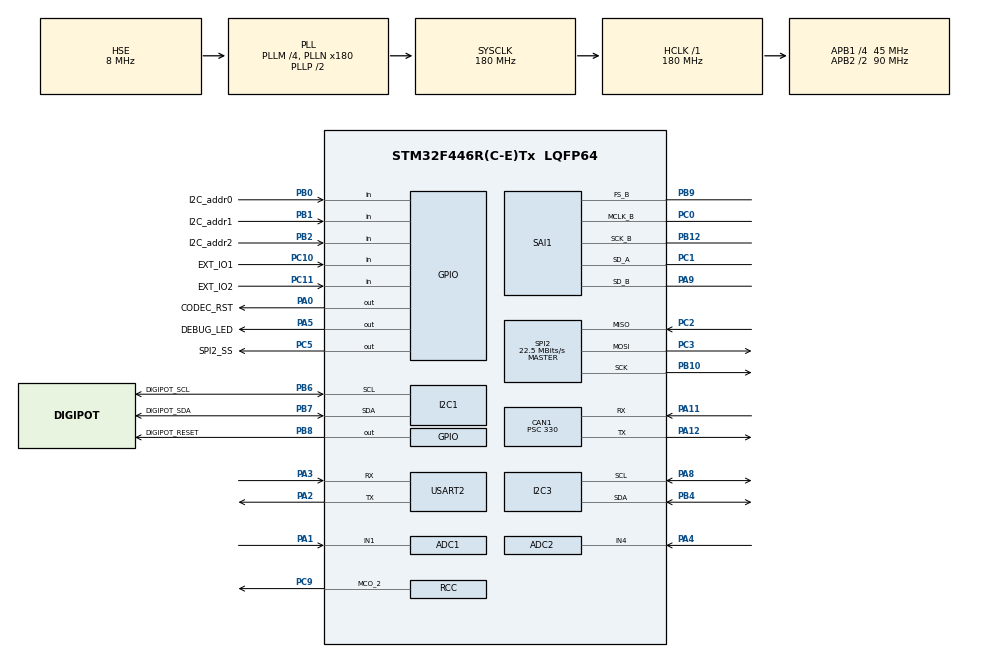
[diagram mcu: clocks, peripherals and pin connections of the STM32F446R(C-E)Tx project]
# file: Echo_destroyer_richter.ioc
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ADC1.Channel-0\#ChannelRegularConversion=ADC_CHANNEL_1
ADC1.ClockPrescaler=ADC_CLOCK_SYNC_PCLK_DIV6
ADC1.NbrOfConversionFlag=1
ADC1.Rank-0\#ChannelRegularConversion=1
ADC1.SamplingTime-0\#ChannelRegularConversion=ADC_SAMPLETIME_3CYCLES
ADC1.master=1
ADC2.Channel-0\#ChannelRegularConversion=ADC_CHANNEL_4
ADC2.ClockPrescaler=ADC_CLOCK_SYNC_PCLK_DIV6
ADC2.NbrOfConversionFlag=1
ADC2.Rank-0\#ChannelRegularConversion=1
ADC2.SamplingTime-0\#ChannelRegularConversion=ADC_SAMPLETIME_3CYCLES
CAN1.BS1=CAN_BS1_7TQ
CAN1.BS2=CAN_BS2_6TQ
CAN1.CalculateBaudRate=9740
CAN1.CalculateTimeBit=102666
CAN1.CalculateTimeQuantum=7333.333333333333
CAN1.Prescaler=330
Dma.Request0=SAI1_A
Dma.Request1=SAI1_B
Dma.SAI1_A.0.Direction=DMA_PERIPH_TO_MEMORY
Dma.SAI1_A.0.FIFOMode=DMA_FIFOMODE_DISABLE
Dma.SAI1_A.0.Instance=DMA2_Stream1
Dma.SAI1_A.0.MemDataAlignment=DMA_MDATAALIGN_WORD
Dma.SAI1_A.0.MemInc=DMA_MINC_ENABLE
Dma.SAI1_A.0.Mode=DMA_CIRCULAR
Dma.SAI1_A.0.PeriphDataAlignment=DMA_PDATAALIGN_WORD
Dma.SAI1_A.0.PeriphInc=DMA_PINC_DISABLE
Dma.SAI1_A.0.Priority=DMA_PRIORITY_LOW
Dma.SAI1_B.1.Direction=DMA_MEMORY_TO_PERIPH
Dma.SAI1_B.1.FIFOMode=DMA_FIFOMODE_DISABLE
Dma.SAI1_B.1.Instance=DMA2_Stream4
Dma.SAI1_B.1.MemDataAlignment=DMA_MDATAALIGN_WORD
Dma.SAI1_B.1.MemInc=DMA_MINC_ENABLE
Dma.SAI1_B.1.Mode=DMA_CIRCULAR
Dma.SAI1_B.1.PeriphDataAlignment=DMA_PDATAALIGN_WORD
Dma.SAI1_B.1.PeriphInc=DMA_PINC_DISABLE
Dma.SAI1_B.1.Priority=DMA_PRIORITY_LOW
I2C3.I2C_Mode=I2C_Fast
I2C3.OwnAddress=0x55
IWDG.Prescaler=IWDG_PRESCALER_16
IWDG.Reload=1500
Mcu.Family=STM32F4
Mcu.Name=STM32F446R(C-E)Tx
Mcu.Package=LQFP64
NVIC.DMA2_Stream1_IRQn=true\:0\:0\:false\:false\:true\:false\:true\:true
NVIC.DMA2_Stream4_IRQn=true\:0\:0\:false\:false\:true\:false\:true\:true
NVIC.I2C3_ER_IRQn=true\:0\:0\:false\:false\:true\:true\:true\:true
NVIC.I2C3_EV_IRQn=true\:0\:0\:false\:false\:true\:true\:true\:true
NVIC.PriorityGroup=NVIC_PRIORITYGROUP_4
NVIC.TIM8_TRG_COM_TIM14_IRQn=true\:0\:0\:false\:false\:true\:true\:true\:true
PA0-WKUP.GPIO_Label=CODEC_RST
PA0-WKUP.Signal=GPIO_Output
PA1.Signal=ADCx_IN1
PA11.Mode=CAN_Activate
PA11.Signal=CAN1_RX
PA12.Mode=CAN_Activate
PA12.Signal=CAN1_TX
PA13.Mode=Serial_Wire
PA13.Signal=SYS_JTMS-SWDIO
PA14.Mode=Serial_Wire
PA14.Signal=SYS_JTCK-SWCLK
PA2.Mode=Asynchronous
PA2.Signal=USART2_TX
PA3.Mode=Asynchronous
PA3.Signal=USART2_RX
PA4.Signal=ADCx_IN4
PA5.GPIO_Label=DEBUG_LED
PA5.Signal=GPIO_Output
PA8.Mode=I2C
PA8.Signal=I2C3_SCL
PA9.Mode=SAI_B_MasterWithClock
PA9.Signal=SAI1_SD_B
PB0.GPIO_Label=I2C_addr0
PB0.GPIO_PuPd=GPIO_PULLUP
PB0.Signal=GPIO_Input
PB1.GPIO_Label=I2C_addr1
PB1.GPIO_PuPd=GPIO_PULLUP
PB1.Signal=GPIO_Input
PB10.Mode=Full_Duplex_Master
PB10.Signal=SPI2_SCK
PB12.Mode=SAI_B_MasterWithClock
PB12.Signal=SAI1_SCK_B
PB2.GPIO_Label=I2C_addr2
PB2.GPIO_PuPd=GPIO_PULLUP
PB2.Signal=GPIO_Input
PB4.Mode=I2C
PB4.Signal=I2C3_SDA
PB6.GPIO_Label=DIGIPOT_SCL
PB6.Mode=I2C
PB6.Signal=I2C1_SCL
PB7.GPIO_Label=DIGIPOT_SDA
PB7.Mode=I2C
PB7.Signal=I2C1_SDA
PB8.GPIO_Label=DIGIPOT_RESET
PB8.Signal=GPIO_Output
PB9.Mode=SAI_B_MasterWithClock
PB9.Signal=SAI1_FS_B
PC0.Mode=SAI_B_MasterWithClock
PC0.Signal=SAI1_MCLK_B
PC1.Mode=SAI_A_SyncSlave
PC1.Signal=SAI1_SD_A
PC10.GPIO_Label=EXT_IO1
PC10.Signal=GPIO_Input
PC11.GPIO_Label=EXT_IO2
PC11.Signal=GPIO_Input
PC2.Mode=Full_Duplex_Master
PC2.Signal=SPI2_MISO
PC3.Mode=Full_Duplex_Master
PC3.Signal=SPI2_MOSI
PC5.GPIO_Label=SPI2_SS
PC5.Signal=GPIO_Output
PC9.Mode=Clock-out-2
PC9.Signal=RCC_MCO_2
PH0-OSC_IN.Mode=HSE-External-Oscillator
PH0-OSC_IN.Signal=RCC_OSC_IN
PH1-OSC_OUT.Mode=HSE-External-Oscillator
PH1-OSC_OUT.Signal=RCC_OSC_OUT
ProjectManager.HeapSize=0x200
ProjectManager.StackSize=0x400
ProjectManager.TargetToolchain=STM32CubeIDE
RCC.AHBFreq_Value=180000000
RCC.APB1CLKDivider=RCC_HCLK_DIV4
RCC.APB1Freq_Value=45000000
RCC.APB1TimFreq_Value=90000000
RCC.APB2CLKDivider=RCC_HCLK_DIV2
RCC.APB2Freq_Value=90000000
RCC.APB2TimFreq_Value=180000000
RCC.CortexFreq_Value=180000000
RCC.HCLKFreq_Value=180000000
RCC.HSE_Timout=5000
RCC.HSE_VALUE=8000000
RCC.HSICalibrationValue=8
RCC.PLLI2SM=4
RCC.PLLI2SN=50
RCC.PLLM=4
RCC.PLLN=180
RCC.PLLSAIM=4
RCC.PLLSAIN=98
RCC.PLLSourceVirtual=RCC_PLLSOURCE_HSE
RCC.RCC_MCO2Source=RCC_MCO2SOURCE_HSE
RCC.SYSCLKFreq_VALUE=180000000
RCC.SYSCLKSource=RCC_SYSCLKSOURCE_PLLCLK
RCC.USBFreq_Value=180000000
RCC.VCOOutputFreq_Value=360000000
SAI1.AudioFrequency-SAI_B_MasterWithClock=SAI_AUDIO_FREQUENCY_16K
SAI1.ErrorAudioFreq-SAI_B_MasterWithClock=-0.31 %
SAI1.InitProtocol-SAI_A_SyncSlave=Enable
SAI1.InitProtocol-SAI_B_MasterWithClock=Enable
SAI1.Instance-SAI_A_SyncSlave=SAI$Index_Block_A
SAI1.Instance-SAI_B_MasterWithClock=SAI$Index_Block_B
SAI1.MClockEnable-SAI_B_MasterWithClock=SAI_MASTERCLOCK_ENABLE
SAI1.OutputDrive-SAI_B_MasterWithClock=SAI_OUTPUTDRIVE_ENABLE
SAI1.RealAudioFreq-SAI_B_MasterWithClock=15.95 KHz
SAI1.VirtualMode-SAI_A_SyncSlave=VM_SLAVE
SAI1.VirtualMode-SAI_B_MasterWithClock=VM_MASTER
SAI1.VirtualProtocol-SAI_A_BASIC=VM_BASIC_PROTOCOL
SAI1.VirtualProtocol-SAI_B_BASIC=VM_BASIC_PROTOCOL
SH.ADCx_IN1.0=ADC1_IN1,IN1
SH.ADCx_IN4.0=ADC2_IN4,IN4
SPI2.BaudRatePrescaler=SPI_BAUDRATEPRESCALER_2
SPI2.CalculateBaudRate=22.5 MBits/s
SPI2.Direction=SPI_DIRECTION_2LINES
SPI2.Mode=SPI_MODE_MASTER
SPI2.VirtualType=VM_MASTER
STMicroelectronics.X-CUBE-ALGOBUILD.1.3.0.LibraryCcDSPOoLibraryJjDSPOoLibrary=true
TIM14.AutoReloadPreload=TIM_AUTORELOAD_PRELOAD_ENABLE
TIM14.Period=10000
TIM14.Prescaler=900
USART2.VirtualMode=VM_ASYNC
VP_IWDG_VS_IWDG.Mode=IWDG_Activate
VP_SAI1_VP_$IpInstance_SAIA_SAI_BASIC.Mode=SAI_A_BASIC
VP_SAI1_VP_$IpInstance_SAIB_SAI_BASIC.Mode=SAI_B_BASIC
VP_STMicroelectronics.X-CUBE-ALGOBUILD_VS_DSPOoLibraryJjLibrary_1.3.0_1.3.0.Mode=DSPOoLibraryJjLibrary
VP_TIM14_VS_ClockSourceINT.Mode=Enable_Timer
board=custom

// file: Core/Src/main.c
/* USER CODE BEGIN Header */
/**
  ******************************************************************************
  * @file           : main.c
  * @brief          : Main program body
  ******************************************************************************
  * @attention
  *
  * Copyright (c) 2024 STMicroelectronics.
  * All rights reserved.
  *
  * This software is licensed under terms that can be found in the LICENSE file
  * in the root directory of this software component.
  * If no LICENSE file comes with this software, it is provided AS-IS.
  *
  ******************************************************************************
  */
/* USER CODE END Header */
#include "main.h"

/* USER CODE BEGIN Includes */
#include "acoustic_ec.h"
#include <stdbool.h>
#include <stdint.h>
#include <stdlib.h>
#include "nvs.h"
#include "digitpoti.h"
#include "math.h"
#include "debug_led.h"
/* USER CODE END Includes */

/* USER CODE BEGIN PTD */
/*Handler and Config structures for AEC*/
AcousticEC_Handler_t   EchoHandlerInstance;
AcousticEC_Config_t    EchoConfigInstance;
/* USER CODE END PTD */

/* USER CODE BEGIN PD */
#define PI 3.14159265
#define SAMPLE_RATE 32000
#define FREQUENCY 440
#define AMPLITUDE 32767
#define BUFFER_SIZE 32
int16_t buffer[BUFFER_SIZE];
int16_t buffer2[BUFFER_SIZE];
uint8_t whichBuffer = 0;
HAL_StatusTypeDef ret;

/* USER CODE END PD */

ADC_HandleTypeDef hadc1;
ADC_HandleTypeDef hadc2;

CAN_HandleTypeDef hcan1;

I2C_HandleTypeDef hi2c1;
I2C_HandleTypeDef hi2c3;

IWDG_HandleTypeDef hiwdg;

SAI_HandleTypeDef hsai_BlockA1;
SAI_HandleTypeDef hsai_BlockB1;
DMA_HandleTypeDef hdma_sai1_a;
DMA_HandleTypeDef hdma_sai1_b;

SPI_HandleTypeDef hspi2;

TIM_HandleTypeDef htim14;

UART_HandleTypeDef huart2;

/* USER CODE BEGIN PV */
uint32_t inbuff[64];
uint32_t outbuff[64];
int16_t  inAbuff1[16];
int16_t  inBbuff1[16];
int16_t  inAbuff2[16];
int16_t  inBbuff2[16];
int16_t  echoOut1[16];
int16_t  echoOut2[16];

volatile int16_t Micbuff[32];
volatile int16_t Refbuff[32];
volatile int16_t Outbuff[32];
volatile int16_t MicMaxVals[10];
volatile uint8_t MicMaxValsPtr = 0;
volatile int16_t MicMaxVal = 0;

volatile int16_t RefMaxVals[10];
volatile uint8_t RefMaxValsPtr = 0;
volatile int16_t RefMaxVal = 0;

volatile int16_t OutMaxVals[10];
volatile uint8_t OutMaxValsPtr = 0;
volatile int16_t OutMaxVal = 0;

volatile bool shouldProcess = false;

DigitPot digitpoti;
uint16_t ledBlinkTimer = 0;
uint8_t savepotiflag = 0;
double phase = 0.0;
/* USER CODE END PV */

void SystemClock_Config(void);
void PeriphCommonClock_Config(void);
static void MX_GPIO_Init(void);
static void MX_DMA_Init(void);
static void MX_ADC1_Init(void);
static void MX_ADC2_Init(void);
static void MX_CAN1_Init(void);
static void MX_I2C1_Init(void);
static void MX_I2C3_Init(void);
static void MX_SPI2_Init(void);
static void MX_USART2_UART_Init(void);
static void MX_SAI1_Init(void);
static void MX_TIM14_Init(void);
static void MX_IWDG_Init(void);

/* USER CODE BEGIN 0 */
void generate_sine_wave() {
    for (int i = 0; i < BUFFER_SIZE; i++) {
        double t = (double)i / BUFFER_SIZE;
        buffer[i] = (int16_t)(AMPLITUDE * sin(2.0 * PI * t));
    }
}
void generate_sine_wave2() {
    for (int i = 0; i < BUFFER_SIZE; i++) {
        double t = (double)i / BUFFER_SIZE;
        buffer2[i] = (int16_t)(AMPLITUDE * sin(2.0 * PI * 3.0 * t));
    }
}

int16_t find_abs_max(int16_t* buffer, int size)
{
    int16_t max_val = 0;
    for (int i = 0; i < size; i++) {
        if (abs(buffer[i]) > max_val) {
            max_val = abs(buffer[i]);
        }
    }
    return max_val;
}
static void reset_devices(void)//resets digitpoti and codec
{
	HAL_GPIO_WritePin(CODEC_RST_GPIO_Port, CODEC_RST_Pin, GPIO_PIN_SET);
	HAL_GPIO_WritePin(DIGIPOT_RESET_GPIO_Port, DIGIPOT_RESET_Pin, GPIO_PIN_SET);
	HAL_Delay(100);
	HAL_GPIO_WritePin(CODEC_RST_GPIO_Port, CODEC_RST_Pin, GPIO_PIN_RESET);
	HAL_GPIO_WritePin(DIGIPOT_RESET_GPIO_Port, DIGIPOT_RESET_Pin, GPIO_PIN_RESET);
	HAL_Delay(100);
	HAL_GPIO_WritePin(CODEC_RST_GPIO_Port, CODEC_RST_Pin, GPIO_PIN_SET);
	HAL_GPIO_WritePin(DIGIPOT_RESET_GPIO_Port, DIGIPOT_RESET_Pin, GPIO_PIN_SET);
	HAL_Delay(100);
	HAL_GPIO_WritePin(CODEC_RST_GPIO_Port, CODEC_RST_Pin, GPIO_PIN_RESET);
	HAL_GPIO_WritePin(DIGIPOT_RESET_GPIO_Port, DIGIPOT_RESET_Pin, GPIO_PIN_RESET);
	HAL_Delay(100);
	HAL_GPIO_WritePin(CODEC_RST_GPIO_Port, CODEC_RST_Pin, GPIO_PIN_SET);
	HAL_GPIO_WritePin(DIGIPOT_RESET_GPIO_Port, DIGIPOT_RESET_Pin, GPIO_PIN_SET);
}
static void setI2CSlaveAddress(void)
{
	uint8_t add = 0;
	add = (HAL_GPIO_ReadPin(I2C_addr2_GPIO_Port, I2C_addr2_Pin)^1)<<2;
	add |= (HAL_GPIO_ReadPin(I2C_addr1_GPIO_Port, I2C_addr1_Pin)^1)<<1;
	add |= HAL_GPIO_ReadPin(I2C_addr0_GPIO_Port, I2C_addr0_Pin)^1;
	add += 1;
	hi2c3.Instance = I2C3;
	  hi2c3.Init.ClockSpeed = 400000;
	  hi2c3.Init.DutyCycle = I2C_DUTYCYCLE_2;
	  hi2c3.Init.OwnAddress1 = add<<1;
	  hi2c3.Init.AddressingMode = I2C_ADDRESSINGMODE_7BIT;
	  hi2c3.Init.DualAddressMode = I2C_DUALADDRESS_DISABLE;
	  hi2c3.Init.OwnAddress2 = 0;
	  hi2c3.Init.GeneralCallMode = I2C_GENERALCALL_DISABLE;
	  hi2c3.Init.NoStretchMode = I2C_NOSTRETCH_DISABLE;
	  if (HAL_I2C_Init(&hi2c3) != HAL_OK)
	  {
	    Error_Handler();
	  }
}
/* USER CODE END 0 */

int main(void)
{

  /* MCU Configuration--------------------------------------------------------*/

  /* Reset of all peripherals, Initializes the Flash interface and the Systick. */
  HAL_Init();

  /* Configure the system clock */
  SystemClock_Config();

/* Configure the peripherals common clocks */
  PeriphCommonClock_Config();

  /* Initialize all configured peripherals */
  MX_GPIO_Init();
  MX_DMA_Init();
  MX_ADC1_Init();
  MX_ADC2_Init();
  MX_CAN1_Init();
  MX_I2C1_Init();
  MX_I2C3_Init();
  MX_SPI2_Init();
  MX_USART2_UART_Init();
  MX_SAI1_Init();
  MX_TIM14_Init();
  //MX_IWDG_Init();
  /* USER CODE BEGIN 2 */
  HAL_TIM_Base_Start_IT(&htim14);
  current_state = PROG_INITIALIZATION;
  /*AEC Initialization*/

     uint32_t error_value = 0;

     EchoHandlerInstance.tail_length=1024;
     EchoHandlerInstance.preprocess_init = 1;
     EchoHandlerInstance.ptr_primary_channels=1;
     EchoHandlerInstance.ptr_reference_channels=1;
     EchoHandlerInstance.ptr_output_channels=1;
     AcousticEC_getMemorySize(&EchoHandlerInstance);

     EchoHandlerInstance.pInternalMemory = (uint32_t *)malloc(EchoHandlerInstance.internal_memory_size);
     if(EchoHandlerInstance.pInternalMemory == NULL)
     {
       while(1);
     }

     error_value = AcousticEC_Init((AcousticEC_Handler_t *)&EchoHandlerInstance);
     if(error_value != 0)
     {
       while(1);
     }

     EchoConfigInstance.preprocess_state = ACOUSTIC_EC_PREPROCESS_ENABLE;
     EchoConfigInstance.AGC_value = 0;
     EchoConfigInstance.noise_suppress_default = -15; /* Default: -15 */
     EchoConfigInstance.echo_suppress_default = -40; /* Default: -40 */
     EchoConfigInstance.echo_suppress_active = -15;  /* Default: -15 */
     EchoConfigInstance.residual_echo_remove = 1;    /* Default: 1   */

     error_value = AcousticEC_setConfig((AcousticEC_Handler_t *)&EchoHandlerInstance, (AcousticEC_Config_t *) &EchoConfigInstance);
     if(error_value != 0)
     {
       while(1);
     }
     setI2CSlaveAddress();
     if (HAL_I2C_EnableListen_IT(&hi2c3) != HAL_OK)
      {
    	  Error_Handler();
      }
     HAL_Delay(1000);

     HAL_SAI_Transmit_DMA(&hsai_BlockB1, outbuff, 64);
     HAL_SAI_Receive_DMA(&hsai_BlockA1, &inbuff, 64);
     generate_sine_wave();
     generate_sine_wave2();
     ret = writePotiFromNvs(&digitpoti);
     if(ret == HAL_ERROR)
     {
    	 current_state = PROG_ERROR;
     }
     reset_devices();
     sendValToPoti(&digitpoti, &hi2c1);
     HAL_Delay(1000);
     if(ret == HAL_OK)
     {
    	current_state = PROG_NORMAL_OPERATION;
     }
     //MX_IWDG_Init();
  /* USER CODE END 2 */

  /* Infinite loop */
  /* USER CODE BEGIN WHILE */
  while (1)
  {
	  if(savepotiflag == 1)
	  {
		  writePotiToNvs(&digitpoti);
		  savepotiflag = 0;
	  }
	  if(shouldProcess == true)
	  	  {
	  		  AcousticEC_Process((AcousticEC_Handler_t *)&EchoHandlerInstance);
	  		  shouldProcess = false;
	  	  }
	  HAL_IWDG_Refresh(&hiwdg);
    /* USER CODE END WHILE */

  }
}

void SystemClock_Config(void)
{
  RCC_OscInitTypeDef RCC_OscInitStruct = {0};
  RCC_ClkInitTypeDef RCC_ClkInitStruct = {0};

  /** Configure the main internal regulator output voltage
  */
  __HAL_RCC_PWR_CLK_ENABLE();
  __HAL_PWR_VOLTAGESCALING_CONFIG(PWR_REGULATOR_VOLTAGE_SCALE1);

  /** Initializes the RCC Oscillators according to the specified parameters
  * in the RCC_OscInitTypeDef structure.
  */
  RCC_OscInitStruct.OscillatorType = RCC_OSCILLATORTYPE_LSI|RCC_OSCILLATORTYPE_HSE;
  RCC_OscInitStruct.HSEState = RCC_HSE_ON;
  RCC_OscInitStruct.LSIState = RCC_LSI_ON;
  RCC_OscInitStruct.PLL.PLLState = RCC_PLL_ON;
  RCC_OscInitStruct.PLL.PLLSource = RCC_PLLSOURCE_HSE;
  RCC_OscInitStruct.PLL.PLLM = 4;
  RCC_OscInitStruct.PLL.PLLN = 180;
  RCC_OscInitStruct.PLL.PLLP = RCC_PLLP_DIV2;
  RCC_OscInitStruct.PLL.PLLQ = 2;
  RCC_OscInitStruct.PLL.PLLR = 2;
  if (HAL_RCC_OscConfig(&RCC_OscInitStruct) != HAL_OK)
  {
    Error_Handler();
  }

  /** Activate the Over-Drive mode
  */
  if (HAL_PWREx_EnableOverDrive() != HAL_OK)
  {
    Error_Handler();
  }

  /** Initializes the CPU, AHB and APB buses clocks
  */
  RCC_ClkInitStruct.ClockType = RCC_CLOCKTYPE_HCLK|RCC_CLOCKTYPE_SYSCLK
                              |RCC_CLOCKTYPE_PCLK1|RCC_CLOCKTYPE_PCLK2;
  RCC_ClkInitStruct.SYSCLKSource = RCC_SYSCLKSOURCE_PLLCLK;
  RCC_ClkInitStruct.AHBCLKDivider = RCC_SYSCLK_DIV1;
  RCC_ClkInitStruct.APB1CLKDivider = RCC_HCLK_DIV4;
  RCC_ClkInitStruct.APB2CLKDivider = RCC_HCLK_DIV2;

  if (HAL_RCC_ClockConfig(&RCC_ClkInitStruct, FLASH_LATENCY_5) != HAL_OK)
  {
    Error_Handler();
  }
  HAL_RCC_MCOConfig(RCC_MCO2, RCC_MCO2SOURCE_HSE, RCC_MCODIV_1);
}

void PeriphCommonClock_Config(void)
{
  RCC_PeriphCLKInitTypeDef PeriphClkInitStruct = {0};

  /** Initializes the peripherals clock
  */
  PeriphClkInitStruct.PeriphClockSelection = RCC_PERIPHCLK_SAI1;
  PeriphClkInitStruct.PLLSAI.PLLSAIM = 4;
  PeriphClkInitStruct.PLLSAI.PLLSAIN = 98;
  PeriphClkInitStruct.PLLSAI.PLLSAIQ = 2;
  PeriphClkInitStruct.PLLSAI.PLLSAIP = RCC_PLLSAIP_DIV2;
  PeriphClkInitStruct.PLLSAIDivQ = 1;
  PeriphClkInitStruct.Sai1ClockSelection = RCC_SAI1CLKSOURCE_PLLSAI;
  if (HAL_RCCEx_PeriphCLKConfig(&PeriphClkInitStruct) != HAL_OK)
  {
    Error_Handler();
  }
}

static void MX_ADC1_Init(void)
{

  ADC_ChannelConfTypeDef sConfig = {0};

  /** Configure the global features of the ADC (Clock, Resolution, Data Alignment and number of conversion)
  */
  hadc1.Instance = ADC1;
  hadc1.Init.ClockPrescaler = ADC_CLOCK_SYNC_PCLK_DIV6;
  hadc1.Init.Resolution = ADC_RESOLUTION_12B;
  hadc1.Init.ScanConvMode = DISABLE;
  hadc1.Init.ContinuousConvMode = DISABLE;
  hadc1.Init.DiscontinuousConvMode = DISABLE;
  hadc1.Init.ExternalTrigConvEdge = ADC_EXTERNALTRIGCONVEDGE_NONE;
  hadc1.Init.ExternalTrigConv = ADC_SOFTWARE_START;
  hadc1.Init.DataAlign = ADC_DATAALIGN_RIGHT;
  hadc1.Init.NbrOfConversion = 1;
  hadc1.Init.DMAContinuousRequests = DISABLE;
  hadc1.Init.EOCSelection = ADC_EOC_SINGLE_CONV;
  if (HAL_ADC_Init(&hadc1) != HAL_OK)
  {
    Error_Handler();
  }

  /** Configure for the selected ADC regular channel its corresponding rank in the sequencer and its sample time.
  */
  sConfig.Channel = ADC_CHANNEL_1;
  sConfig.Rank = 1;
  sConfig.SamplingTime = ADC_SAMPLETIME_3CYCLES;
  if (HAL_ADC_ConfigChannel(&hadc1, &sConfig) != HAL_OK)
  {
    Error_Handler();
  }

}

static void MX_ADC2_Init(void)
{

  ADC_ChannelConfTypeDef sConfig = {0};

  /** Configure the global features of the ADC (Clock, Resolution, Data Alignment and number of conversion)
  */
  hadc2.Instance = ADC2;
  hadc2.Init.ClockPrescaler = ADC_CLOCK_SYNC_PCLK_DIV6;
  hadc2.Init.Resolution = ADC_RESOLUTION_12B;
  hadc2.Init.ScanConvMode = DISABLE;
  hadc2.Init.ContinuousConvMode = DISABLE;
  hadc2.Init.DiscontinuousConvMode = DISABLE;
  hadc2.Init.ExternalTrigConvEdge = ADC_EXTERNALTRIGCONVEDGE_NONE;
  hadc2.Init.ExternalTrigConv = ADC_SOFTWARE_START;
  hadc2.Init.DataAlign = ADC_DATAALIGN_RIGHT;
  hadc2.Init.NbrOfConversion = 1;
  hadc2.Init.DMAContinuousRequests = DISABLE;
  hadc2.Init.EOCSelection = ADC_EOC_SINGLE_CONV;
  if (HAL_ADC_Init(&hadc2) != HAL_OK)
  {
    Error_Handler();
  }

  /** Configure for the selected ADC regular channel its corresponding rank in the sequencer and its sample time.
  */
  sConfig.Channel = ADC_CHANNEL_4;
  sConfig.Rank = 1;
  sConfig.SamplingTime = ADC_SAMPLETIME_3CYCLES;
  if (HAL_ADC_ConfigChannel(&hadc2, &sConfig) != HAL_OK)
  {
    Error_Handler();
  }

}

static void MX_CAN1_Init(void)
{

  hcan1.Instance = CAN1;
  hcan1.Init.Prescaler = 330;
  hcan1.Init.Mode = CAN_MODE_NORMAL;
  hcan1.Init.SyncJumpWidth = CAN_SJW_1TQ;
  hcan1.Init.TimeSeg1 = CAN_BS1_7TQ;
  hcan1.Init.TimeSeg2 = CAN_BS2_6TQ;
  hcan1.Init.TimeTriggeredMode = DISABLE;
  hcan1.Init.AutoBusOff = DISABLE;
  hcan1.Init.AutoWakeUp = DISABLE;
  hcan1.Init.AutoRetransmission = DISABLE;
  hcan1.Init.ReceiveFifoLocked = DISABLE;
  hcan1.Init.TransmitFifoPriority = DISABLE;
  if (HAL_CAN_Init(&hcan1) != HAL_OK)
  {
    Error_Handler();
  }

}

static void MX_I2C1_Init(void)
{

  hi2c1.Instance = I2C1;
  hi2c1.Init.ClockSpeed = 100000;
  hi2c1.Init.DutyCycle = I2C_DUTYCYCLE_2;
  hi2c1.Init.OwnAddress1 = 0;
  hi2c1.Init.AddressingMode = I2C_ADDRESSINGMODE_7BIT;
  hi2c1.Init.DualAddressMode = I2C_DUALADDRESS_DISABLE;
  hi2c1.Init.OwnAddress2 = 0;
  hi2c1.Init.GeneralCallMode = I2C_GENERALCALL_DISABLE;
  hi2c1.Init.NoStretchMode = I2C_NOSTRETCH_DISABLE;
  if (HAL_I2C_Init(&hi2c1) != HAL_OK)
  {
    Error_Handler();
  }

}

static void MX_I2C3_Init(void)
{

  hi2c3.Instance = I2C3;
  hi2c3.Init.ClockSpeed = 400000;
  hi2c3.Init.DutyCycle = I2C_DUTYCYCLE_2;
  hi2c3.Init.OwnAddress1 = 170;
  hi2c3.Init.AddressingMode = I2C_ADDRESSINGMODE_7BIT;
  hi2c3.Init.DualAddressMode = I2C_DUALADDRESS_DISABLE;
  hi2c3.Init.OwnAddress2 = 0;
  hi2c3.Init.GeneralCallMode = I2C_GENERALCALL_DISABLE;
  hi2c3.Init.NoStretchMode = I2C_NOSTRETCH_DISABLE;
  if (HAL_I2C_Init(&hi2c3) != HAL_OK)
  {
    Error_Handler();
  }

}

static void MX_IWDG_Init(void)
{

  hiwdg.Instance = IWDG;
  hiwdg.Init.Prescaler = IWDG_PRESCALER_16;
  hiwdg.Init.Reload = 1500;
  if (HAL_IWDG_Init(&hiwdg) != HAL_OK)
  {
    Error_Handler();
  }

}

static void MX_SAI1_Init(void)
{

  hsai_BlockA1.Instance = SAI1_Block_A;
  hsai_BlockA1.Init.AudioMode = SAI_MODESLAVE_RX;
  hsai_BlockA1.Init.Synchro = SAI_SYNCHRONOUS;
  hsai_BlockA1.Init.OutputDrive = SAI_OUTPUTDRIVE_DISABLE;
  hsai_BlockA1.Init.FIFOThreshold = SAI_FIFOTHRESHOLD_EMPTY;
  hsai_BlockA1.Init.SynchroExt = SAI_SYNCEXT_DISABLE;
  hsai_BlockA1.Init.MonoStereoMode = SAI_STEREOMODE;
  hsai_BlockA1.Init.CompandingMode = SAI_NOCOMPANDING;
  hsai_BlockA1.Init.TriState = SAI_OUTPUT_NOTRELEASED;
  if (HAL_SAI_InitProtocol(&hsai_BlockA1, SAI_I2S_STANDARD, SAI_PROTOCOL_DATASIZE_16BIT, 2) != HAL_OK)
  {
    Error_Handler();
  }
  hsai_BlockB1.Instance = SAI1_Block_B;
  hsai_BlockB1.Init.AudioMode = SAI_MODEMASTER_TX;
  hsai_BlockB1.Init.Synchro = SAI_ASYNCHRONOUS;
  hsai_BlockB1.Init.OutputDrive = SAI_OUTPUTDRIVE_ENABLE;
  hsai_BlockB1.Init.NoDivider = SAI_MASTERDIVIDER_ENABLE;
  hsai_BlockB1.Init.FIFOThreshold = SAI_FIFOTHRESHOLD_EMPTY;
  hsai_BlockB1.Init.ClockSource = SAI_CLKSOURCE_NA;
  hsai_BlockB1.Init.AudioFrequency = SAI_AUDIO_FREQUENCY_16K;
  hsai_BlockB1.Init.SynchroExt = SAI_SYNCEXT_DISABLE;
  hsai_BlockB1.Init.MonoStereoMode = SAI_STEREOMODE;
  hsai_BlockB1.Init.CompandingMode = SAI_NOCOMPANDING;
  hsai_BlockB1.Init.TriState = SAI_OUTPUT_NOTRELEASED;
  if (HAL_SAI_InitProtocol(&hsai_BlockB1, SAI_I2S_STANDARD, SAI_PROTOCOL_DATASIZE_16BIT, 2) != HAL_OK)
  {
    Error_Handler();
  }

}

static void MX_SPI2_Init(void)
{

  /* SPI2 parameter configuration*/
  hspi2.Instance = SPI2;
  hspi2.Init.Mode = SPI_MODE_MASTER;
  hspi2.Init.Direction = SPI_DIRECTION_2LINES;
  hspi2.Init.DataSize = SPI_DATASIZE_8BIT;
  hspi2.Init.CLKPolarity = SPI_POLARITY_LOW;
  hspi2.Init.CLKPhase = SPI_PHASE_1EDGE;
  hspi2.Init.NSS = SPI_NSS_SOFT;
  hspi2.Init.BaudRatePrescaler = SPI_BAUDRATEPRESCALER_2;
  hspi2.Init.FirstBit = SPI_FIRSTBIT_MSB;
  hspi2.Init.TIMode = SPI_TIMODE_DISABLE;
  hspi2.Init.CRCCalculation = SPI_CRCCALCULATION_DISABLE;
  hspi2.Init.CRCPolynomial = 10;
  if (HAL_SPI_Init(&hspi2) != HAL_OK)
  {
    Error_Handler();
  }

}

static void MX_TIM14_Init(void)
{

  htim14.Instance = TIM14;
  htim14.Init.Prescaler = 900;
  htim14.Init.CounterMode = TIM_COUNTERMODE_UP;
  htim14.Init.Period = 20000;
  htim14.Init.ClockDivision = TIM_CLOCKDIVISION_DIV1;
  htim14.Init.AutoReloadPreload = TIM_AUTORELOAD_PRELOAD_ENABLE;
  if (HAL_TIM_Base_Init(&htim14) != HAL_OK)
  {
    Error_Handler();
  }

}

static void MX_USART2_UART_Init(void)
{

  huart2.Instance = USART2;
  huart2.Init.BaudRate = 115200;
  huart2.Init.WordLength = UART_WORDLENGTH_8B;
  huart2.Init.StopBits = UART_STOPBITS_1;
  huart2.Init.Parity = UART_PARITY_NONE;
  huart2.Init.Mode = UART_MODE_TX_RX;
  huart2.Init.HwFlowCtl = UART_HWCONTROL_NONE;
  huart2.Init.OverSampling = UART_OVERSAMPLING_16;
  if (HAL_UART_Init(&huart2) != HAL_OK)
  {
    Error_Handler();
  }

}

static void MX_DMA_Init(void)
{

  /* DMA controller clock enable */
  __HAL_RCC_DMA2_CLK_ENABLE();

  /* DMA interrupt init */
  /* DMA2_Stream1_IRQn interrupt configuration */
  HAL_NVIC_SetPriority(DMA2_Stream1_IRQn, 0, 0);
  HAL_NVIC_EnableIRQ(DMA2_Stream1_IRQn);
  /* DMA2_Stream4_IRQn interrupt configuration */
  HAL_NVIC_SetPriority(DMA2_Stream4_IRQn, 0, 0);
  HAL_NVIC_EnableIRQ(DMA2_Stream4_IRQn);

}

static void MX_GPIO_Init(void)
{
  GPIO_InitTypeDef GPIO_InitStruct = {0};

  /* GPIO Ports Clock Enable */
  __HAL_RCC_GPIOH_CLK_ENABLE();
  __HAL_RCC_GPIOC_CLK_ENABLE();
  __HAL_RCC_GPIOA_CLK_ENABLE();
  __HAL_RCC_GPIOB_CLK_ENABLE();

  /*Configure GPIO pin Output Level */
  HAL_GPIO_WritePin(GPIOA, CODEC_RST_Pin|DEBUG_LED_Pin, GPIO_PIN_RESET);

  /*Configure GPIO pin Output Level */
  HAL_GPIO_WritePin(SPI2_SS_GPIO_Port, SPI2_SS_Pin, GPIO_PIN_RESET);

  /*Configure GPIO pin Output Level */
  HAL_GPIO_WritePin(DIGIPOT_RESET_GPIO_Port, DIGIPOT_RESET_Pin, GPIO_PIN_RESET);

  /*Configure GPIO pins : CODEC_RST_Pin DEBUG_LED_Pin */
  GPIO_InitStruct.Pin = CODEC_RST_Pin|DEBUG_LED_Pin;
  GPIO_InitStruct.Mode = GPIO_MODE_OUTPUT_PP;
  GPIO_InitStruct.Pull = GPIO_NOPULL;
  GPIO_InitStruct.Speed = GPIO_SPEED_FREQ_LOW;
  HAL_GPIO_Init(GPIOA, &GPIO_InitStruct);

  /*Configure GPIO pin : SPI2_SS_Pin */
  GPIO_InitStruct.Pin = SPI2_SS_Pin;
  GPIO_InitStruct.Mode = GPIO_MODE_OUTPUT_PP;
  GPIO_InitStruct.Pull = GPIO_NOPULL;
  GPIO_InitStruct.Speed = GPIO_SPEED_FREQ_LOW;
  HAL_GPIO_Init(SPI2_SS_GPIO_Port, &GPIO_InitStruct);

  /*Configure GPIO pins : I2C_addr0_Pin I2C_addr1_Pin I2C_addr2_Pin */
  GPIO_InitStruct.Pin = I2C_addr0_Pin|I2C_addr1_Pin|I2C_addr2_Pin;
  GPIO_InitStruct.Mode = GPIO_MODE_INPUT;
  GPIO_InitStruct.Pull = GPIO_PULLUP;
  HAL_GPIO_Init(GPIOB, &GPIO_InitStruct);

  /*Configure GPIO pin : PC9 */
  GPIO_InitStruct.Pin = GPIO_PIN_9;
  GPIO_InitStruct.Mode = GPIO_MODE_AF_PP;
  GPIO_InitStruct.Pull = GPIO_NOPULL;
  GPIO_InitStruct.Speed = GPIO_SPEED_FREQ_LOW;
  GPIO_InitStruct.Alternate = GPIO_AF0_MCO;
  HAL_GPIO_Init(GPIOC, &GPIO_InitStruct);

  /*Configure GPIO pins : EXT_IO1_Pin EXT_IO2_Pin */
  GPIO_InitStruct.Pin = EXT_IO1_Pin|EXT_IO2_Pin;
  GPIO_InitStruct.Mode = GPIO_MODE_INPUT;
  GPIO_InitStruct.Pull = GPIO_NOPULL;
  HAL_GPIO_Init(GPIOC, &GPIO_InitStruct);

  /*Configure GPIO pin : DIGIPOT_RESET_Pin */
  GPIO_InitStruct.Pin = DIGIPOT_RESET_Pin;
  GPIO_InitStruct.Mode = GPIO_MODE_OUTPUT_PP;
  GPIO_InitStruct.Pull = GPIO_NOPULL;
  GPIO_InitStruct.Speed = GPIO_SPEED_FREQ_LOW;
  HAL_GPIO_Init(DIGIPOT_RESET_GPIO_Port, &GPIO_InitStruct);

}

/* USER CODE BEGIN 4 */
void HAL_SAI_RxHalfCpltCallback(SAI_HandleTypeDef *hsai)
{
	for(int i = 0;i<32;i = i+2)
	{
		inAbuff1[i/2] = (int16_t)inbuff[i];
		Micbuff[i/2] = (int16_t)inbuff[i];
	}
	for(int i = 0;i<32;i = i+2)
	{
		inBbuff1[i/2] = (int16_t)inbuff[i+1];
		Refbuff[i/2] = (int16_t)inbuff[i+1];
	}

	if(AcousticEC_Data_Input(&inAbuff1, &inBbuff1, &echoOut1, (AcousticEC_Handler_t *)&EchoHandlerInstance))
	{
		shouldProcess = true;
	}
//	for(int i = 0;i<16;i++)
//		{
//			outbuff[i*2] = echoOut1[i];
//			outbuff[i*2+1] = buffer[i];
//		}
	if(whichBuffer == 0)
	{
		for(int i = 0;i<16;i++)//route the 500Hz sine to the out and ext
					{
						outbuff[i*2] = echoOut1[i];
						Outbuff[i] = echoOut1[i];
						outbuff[i*2+1] = buffer[i];
					}
	}
	else
	{
		for(int i = 0;i<16;i++)//route the 500Hz sine to the out and ext
					{
						outbuff[i*2] = echoOut1[i];
						Outbuff[i] = echoOut1[i];
						outbuff[i*2+1] = buffer2[i];
					}
	}

//feedtrough

//	for(int i = 0;i<16;i++)
//		{
//			outbuff[i*2] = inBbuff1[i];
//			outbuff[i*2+1] = inBbuff1[i];
//		}
}
void HAL_SAI_RxCpltCallback(SAI_HandleTypeDef *hsai)
{
	for(int i = 32;i<64;i = i+2)
		{
			inAbuff2[(i-32)/2] = (int16_t)inbuff[i];
			Micbuff[i/2] = (int16_t)inbuff[i];
		}
	for(int i = 32;i<64;i = i+2)
		{
			inBbuff2[(i-32)/2] = (int16_t)inbuff[i+1];
			Refbuff[i/2]	= (int16_t)inbuff[i+1];
		}

	if(AcousticEC_Data_Input(&inAbuff2, &inBbuff2, &echoOut2, (AcousticEC_Handler_t *)&EchoHandlerInstance))
		{
			shouldProcess = true;
		}

//	for(int i = 16;i<32;i++)
//		{
//			outbuff[i*2] = echoOut2[i-16];
//			outbuff[i*2+1] = buffer[i];
//		}
	if(whichBuffer == 0)
	{
		for(int i = 16;i<32;i++)//route the 500Hz sine to the out and ext
					{
						outbuff[i*2] = echoOut2[i-16];
						Outbuff[i] = echoOut2[i-16];
						outbuff[i*2+1] = buffer[i];
					}
		//whichBuffer = 1;
	}
	else
	{
		for(int i = 16;i<32;i++)//route the 500Hz sine to the out and ext
					{
						outbuff[i*2] = echoOut2[i-16];
						Outbuff[i] = echoOut2[i-16];
						outbuff[i*2+1] = buffer2[i];
					}
		whichBuffer = 0;
	}
	MicMaxVals[MicMaxValsPtr] = find_abs_max(Micbuff, 32);
	RefMaxVals[RefMaxValsPtr] = find_abs_max(Refbuff, 32);
	OutMaxVals[OutMaxValsPtr] = find_abs_max(Outbuff, 32);
	MicMaxValsPtr++;
	RefMaxValsPtr++;
	OutMaxValsPtr++;
	if(MicMaxValsPtr > 9)
		{
			MicMaxValsPtr = 0;
			MicMaxVal = find_abs_max(MicMaxVals, 10);
		}
	if(RefMaxValsPtr > 9)
		{
			RefMaxValsPtr = 0;
			RefMaxVal = find_abs_max(RefMaxVals, 10);
		}
	if(OutMaxValsPtr > 9)
		{
			OutMaxValsPtr = 0;
			OutMaxVal = find_abs_max(OutMaxVals, 10);
		}

//feedtrough

//	for(int i = 16;i<32;i++)
//		{
//			outbuff[i*2] = inBbuff2[i-16];
//			outbuff[i*2+1] = inBbuff2[i-16];
//		}
}

/* USER CODE END 4 */

void Error_Handler(void)
{
  __disable_irq();
  while (1)
  {
  }
}
